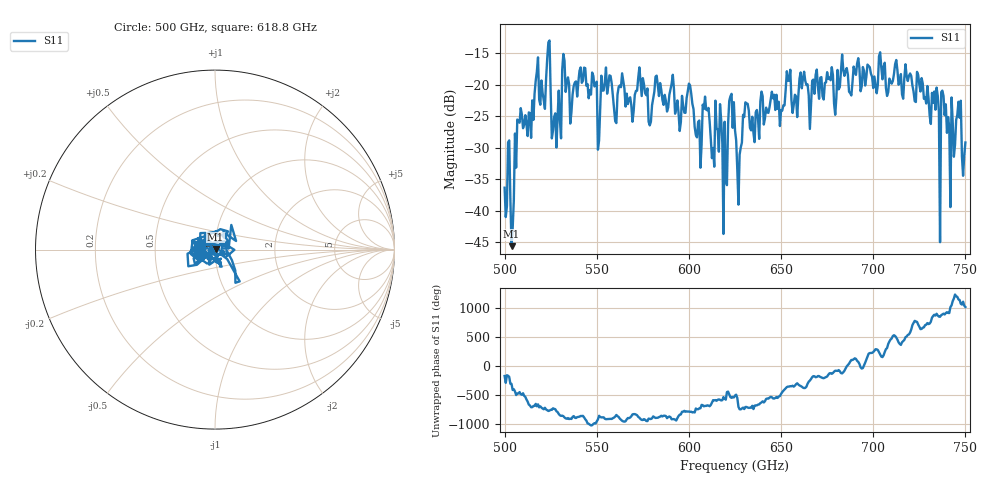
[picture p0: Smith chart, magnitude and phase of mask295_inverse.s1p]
!Created with skrf (http://scikit-rf.org).
# GHz S MA R 50.0
!freq magS11 angS11
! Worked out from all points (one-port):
!   401 points, 500 GHz to 750 GHz, reference 50 ohm
!   lowest |S11| = -45.6 dB at 503.8 GHz (marker M1), VSWR 1.01, Z = 50.3 + j0.414 ohm
!   |S11| at or under -10 dB: start of sweep to end of sweep
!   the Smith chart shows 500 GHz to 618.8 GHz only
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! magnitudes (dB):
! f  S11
! 500 GHz  -36.3
! 503.8 GHz  -45.6
! 508.1 GHz  -26.0
! 523.8 GHz  -13.3
! 526.9 GHz  -25.1
! 531.2 GHz  -17.6
! 551.9 GHz  -23.8
! 562.5 GHz  -20.1
! 593.8 GHz  -22.5
! 600.6 GHz  -20.1
! 605.6 GHz  -25.7
! 609.4 GHz  -24.0
! 612.5 GHz  -31.7
! 616.9 GHz  -23.1
! 619.4 GHz  -25.9
! 623.1 GHz  -21.5
! 625 GHz  -27.2
! 627.5 GHz  -31.1
! 630.6 GHz  -22.8
! 656.2 GHz  -24.5
! 687.5 GHz  -21.3
! 718.8 GHz  -19.4
! 734.4 GHz  -20.5
! 735 GHz  -21.8
! 738.1 GHz  -21.8
! 743.1 GHz  -26.0
! 746.2 GHz  -22.7
! 750 GHz  -29.2
